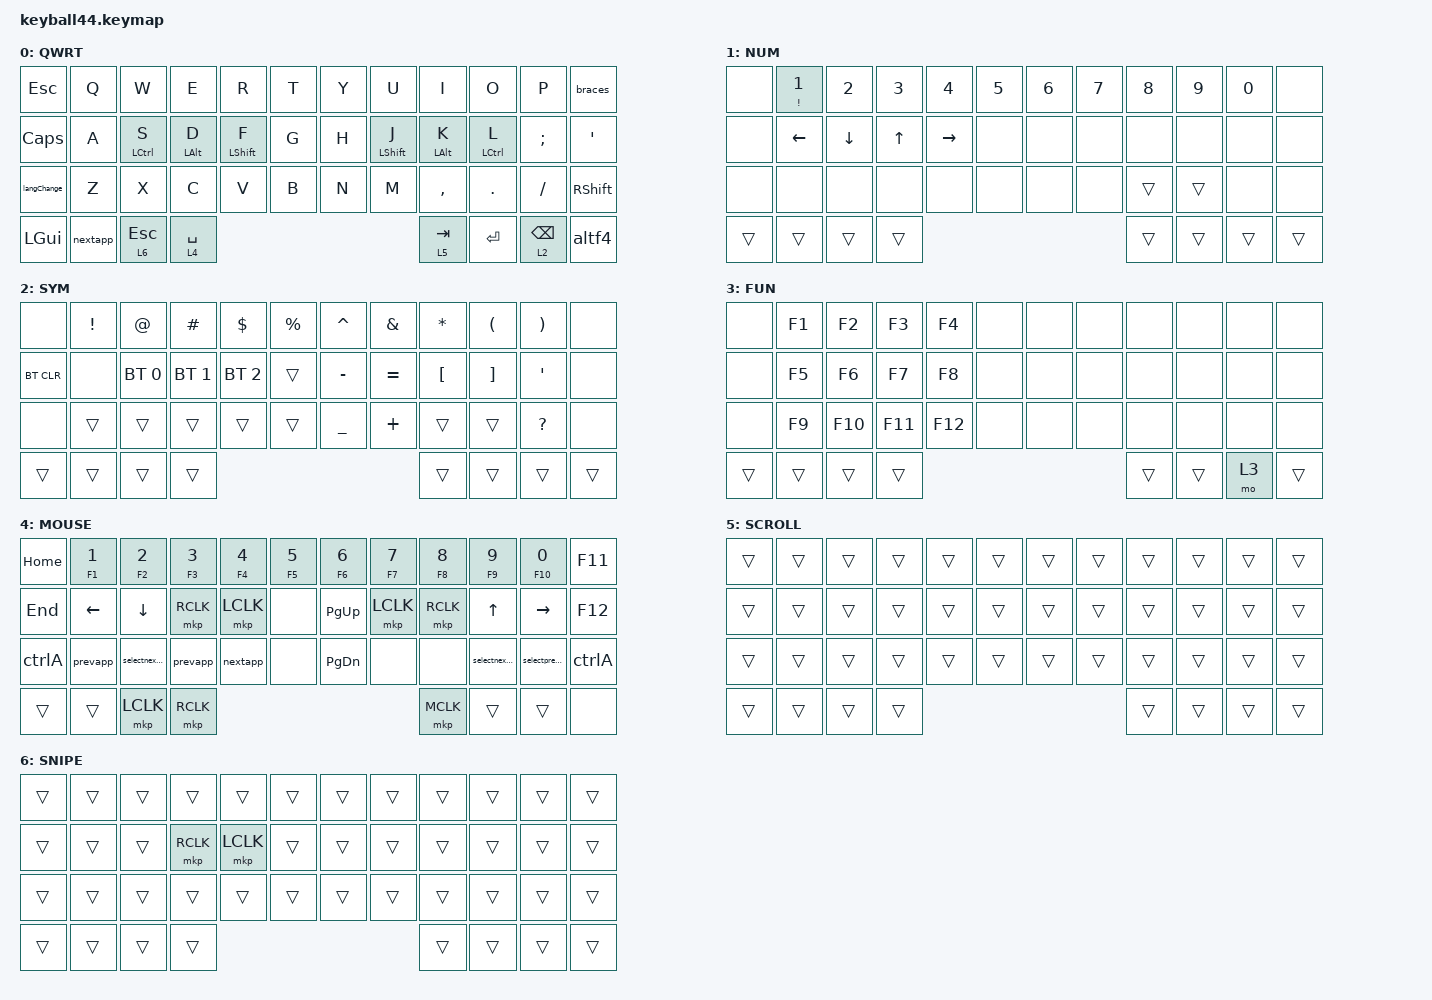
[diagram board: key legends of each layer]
#define DEFAULT 0
#define NUM     1
#define SYM     2
#define FUN     3
#define MOUSE   4
#define SCROLL  5
#define SNIPE   6

#include <behaviors/mouse_keys.dtsi>
#include <dt-bindings/zmk/mouse.h>
#include <behaviors.dtsi>
#include <dt-bindings/zmk/bt.h>
#include <dt-bindings/zmk/keys.h>
#include <dt-bindings/zmk/pointing.h>

&lt {
    tapping-term-ms = <240>;
    flavor = "balanced";
    quick-tap-ms = <150>;
};

&mt {
    tapping-term-ms = <200>;
    flavor = "tap-preferred";
    quick-tap-ms = <150>;
};

&caps_word { continue-list = <UNDERSCORE MINUS>; };

/ {
    // custom shift using mod-morph 

    behaviors {
        cmqus: comma_question {
            compatible = "zmk,behavior-mod-morph";
            label = "COMMA_QUESTION";
            #binding-cells = <0>;
            bindings = <&kp COMMA>, <&kp QUESTION>;

            mods = <(MOD_LSFT|MOD_RSFT)>;
        };

        dtsmi: dot_semi {
            compatible = "zmk,behavior-mod-morph";
            label = "DOT_SEMI";
            #binding-cells = <0>;
            bindings = <&kp DOT>, <&kp SEMI>;

            mods = <(MOD_LSFT|MOD_RSFT)>;
        };
    };

    macros {
        braces: braces {
            compatible = "zmk,behavior-macro";
            #binding-cells = <0>;
            bindings = <&kp LEFT_BRACE &kp RIGHT_BRACE &kp LEFT>;
            label = "BRACES";
        };

        nextapp: nextapp {
            compatible = "zmk,behavior-macro";
            #binding-cells = <0>;
            bindings = <&kp LA(TAB)>;
            label = "NEXTAPP";
        };

        prevapp: prevapp {
            compatible = "zmk,behavior-macro";
            #binding-cells = <0>;
            bindings = <&kp LS(LA(TAB))>;
            label = "PREVAPP";
        };

        ctrlaltdel: ctrlaltdel {
            compatible = "zmk,behavior-macro";
            #binding-cells = <0>;
            bindings = <&kp LC(LA(DELETE))>;
            label = "CTRLALTDEL";
        };

        altf4: altf4 {
            compatible = "zmk,behavior-macro";
            #binding-cells = <0>;
            bindings = <&kp LA(F4)>;
            label = "ALTF4";
        };

        selectnextword: selectnextword {
            compatible = "zmk,behavior-macro";
            #binding-cells = <0>;
            bindings = <&kp LS(LC(RIGHT))>;
            label = "SELECTNEXTWORD";
        };

        selectprevword: selectprevword {
            compatible = "zmk,behavior-macro";
            #binding-cells = <0>;
            bindings = <&kp LS(LC(LEFT_ARROW))>;
            label = "SELECTPREVWORD";
        };

        ctrlA: ctrlA {
            compatible = "zmk,behavior-macro";
            #binding-cells = <0>;
            bindings = <&kp LC(A)>;
            label = "CTRLA";
        };

        langChange: langChange {
            compatible = "zmk,behavior-macro";
            #binding-cells = <0>;
            bindings = <&kt LEFT_WIN &kp SPACE &kt LEFT_WIN>;
            label = "LANGCHANGE";
        };
    };

    keymap {
        compatible = "zmk,keymap";

        default_layer {
            label = "QWRT";
            bindings = <
&kp ESCAPE    &kp Q     &kp W         &kp E           &kp R             &kp T                 &kp Y            &kp U             &kp I       &kp O        &kp P      &braces
&kp CAPSLOCK  &kp A     &mt LCTRL S   &mt LEFT_ALT D  &mt LEFT_SHIFT F  &kp G                 &kp H            &mt LEFT_SHIFT J  &mt LALT K  &mt LCTRL L  &kp SEMI   &kp SQT
&langChange   &kp Z     &kp X         &kp C           &kp V             &kp B                 &kp N            &kp M             &kp COMMA   &kp DOT      &kp SLASH  &kp RIGHT_SHIFT
&kp LGUI      &nextapp  &lt 6 ESCAPE  &lt 4 SPACE     &lt 5 TAB                    &kp ENTER  &lt 2 BACKSPACE                                                        &altf4
            >;
        };

        number_layer {
            label = "NUM";
            bindings = <
&none   &mt EXCL NUMBER_1  &kp NUMBER_2  &kp NUMBER_3  &kp NUMBER_4  &kp NUMBER_5              &kp NUMBER_6  &kp NUMBER_7  &kp NUMBER_8  &kp NUMBER_9  &kp NUMBER_0  &none
&none   &kp LEFT           &kp DOWN      &kp UP_ARROW  &kp RIGHT     &none                     &none         &none         &none         &none         &none         &none
&none   &none              &none         &none         &none         &none                     &none         &none         &trans        &trans        &none         &none
&trans  &trans             &trans        &trans        &trans                          &trans  &trans                                                                &trans
            >;
        };

        symbol_layer {
            label = "SYM";
            bindings = <
&none       &kp EXCLAMATION  &kp AT_SIGN   &kp HASH      &kp DOLLAR    &kp PERCENT              &kp CARET       &kp AMPERSAND  &kp ASTERISK      &kp LEFT_PARENTHESIS  &kp RIGHT_PARENTHESIS  &none
&bt BT_CLR  &none            &bt BT_SEL 0  &bt BT_SEL 1  &bt BT_SEL 2  &trans                   &kp MINUS       &kp EQUAL      &kp LEFT_BRACKET  &kp RIGHT_BRACKET     &kp SQT                &none
&none       &trans           &trans        &trans        &trans        &trans                   &kp UNDERSCORE  &kp PLUS       &trans            &trans                &kp QUESTION           &none
&trans      &trans           &trans        &trans        &trans                         &trans  &trans                                                                                        &trans
            >;
        };

        function_layer {
            label = "FUN";
            bindings = <
&none   &kp F1  &kp F2   &kp F3   &kp F4   &none              &none  &none  &none  &none  &none  &none
&none   &kp F5  &kp F6   &kp F7   &kp F8   &none              &none  &none  &none  &none  &none  &none
&none   &kp F9  &kp F10  &kp F11  &kp F12  &none              &none  &none  &none  &none  &none  &none
&trans  &trans  &trans   &trans   &trans              &trans  &mo 3                              &trans
            >;
        };

        mouse_layer {
            label = "MOUSE";
            bindings = <
&kp HOME  &mt F1 N1       &mt F2 N2        &mt F3 N3  &mt F4 NUMBER_4  &mt F5 N5              &mt F6 N6      &mt F7 N7  &mt F8 N8  &mt F9 N9        &mt F10 N0       &kp F11
&kp END   &kp LEFT_ARROW  &kp DOWN_ARROW   &mkp RCLK  &mkp LCLK        &none                  &kp PAGE_UP    &mkp LCLK  &mkp RCLK  &kp UP_ARROW     &kp RIGHT        &kp F12
&ctrlA    &prevapp        &selectnextword  &prevapp   &nextapp         &none                  &kp PAGE_DOWN  &none      &none      &selectnextword  &selectprevword  &ctrlA
&trans    &trans          &mkp LCLK        &mkp RCLK  &mkp MCLK                       &trans  &trans                                                                 &none
            >;
        };

        scroll_layer {
            label = "SCROLL";
            bindings = <
&trans  &trans  &trans  &trans  &trans  &trans              &trans  &trans  &trans  &trans  &trans  &trans
&trans  &trans  &trans  &trans  &trans  &trans              &trans  &trans  &trans  &trans  &trans  &trans
&trans  &trans  &trans  &trans  &trans  &trans              &trans  &trans  &trans  &trans  &trans  &trans
&trans  &trans  &trans  &trans  &trans              &trans  &trans                                  &trans
            >;
        };

        snipe_layer {
            label = "SNIPE";
            bindings = <
&trans  &trans  &trans  &trans     &trans     &trans              &trans  &trans  &trans  &trans  &trans  &trans
&trans  &trans  &trans  &mkp RCLK  &mkp LCLK  &trans              &trans  &trans  &trans  &trans  &trans  &trans
&trans  &trans  &trans  &trans     &trans     &trans              &trans  &trans  &trans  &trans  &trans  &trans
&trans  &trans  &trans  &trans     &trans                 &trans  &trans                                  &trans
            >;
        };
    };
};
